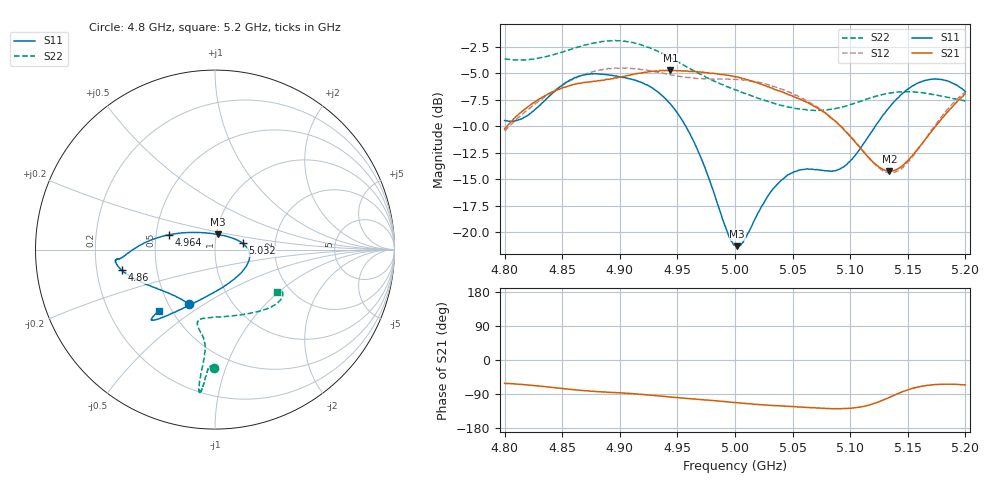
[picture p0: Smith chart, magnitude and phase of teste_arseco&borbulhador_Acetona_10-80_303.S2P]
! Network Analyzer HP8722D
! Hewlett-Packard
! Data name: Linha & Wilkinson
! Saver's name: Rodrigo Anjos
! Comments: Teste da utilização de aquisição
! continua pelo VNA HP8722D
! Time and date: 17/4/2025 16:53
!  Frequency  S11  S21  S12  S22
# HZ  S  MA R 50
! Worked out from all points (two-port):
!   401 points, 4.8 GHz to 5.2 GHz, reference 50 ohm
!   highest |S21| = -4.73 dB at 4.944 GHz (marker M1); lowest = -14.3 dB at 5.134 GHz (marker M2)
!   |S21| within 3 dB of the highest: 4.826 GHz to 5.062 GHz (236.1 MHz wide, 4.77 % of centre); 5.192467 GHz to end of sweep
!   lowest |S11| = -21.3 dB at 5.002 GHz (marker M3), VSWR 1.19, Z = 50.7 + j8.66 ohm
!   |S11| at or under -10 dB: 4.957 GHz to 5.122 GHz (164.5 MHz wide, 3.26 % of centre)
!   |S22| runs from -8.5 to -1.9 dB; largest |S21 - S12| = 0.87
!   S11 on the Smith chart (normalised r, x): 4.8 GHz: 0.63, -0.43; 4.86 GHz: 0.31, -0.10; 4.964 GHz: 0.58, +0.10; 5.032 GHz: 1.36, +0.10; 5.2 GHz: 0.43, -0.37
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4.8e9  0.3364 -116.0  0.3069 -61.6  0.3004 -175.8  0.6576 -90.7
4.818e9  0.3502 -135.2  0.3816 -65.3  0.3709 -175.2  0.6501 -92.3
4.86e9  0.5326 -167.6  0.4971 -78.3  0.5281 -178.4  0.7341 -94.6
4.867e9  0.5492 -170.3  0.5066 -80.6  0.5483 -179.8  0.7554 -94.9
4.898e9  0.5434 -174.4  0.536 -86.3  0.593 174.3  0.8004 -96.1
4.934e9  0.4547 179.8  0.5751 -95.0  0.5681 170.7  0.708 -96.5
4.944e9  0.4025 175.3  0.58 -97.6  0.5523 170.9  0.6655 -96.2
4.964e9  0.2694 162.1  0.5727 -102.9  0.5336 172.7  0.5781 -95.7
4.993e9  0.1013 114.0  0.5515 -110.4  0.5276 175.0  0.4864 -98.1
5e9  0.08679 88.4  0.5409 -112.3  0.527 175.1  0.4689 -99.5
5.002e9  0.08598 80.4  0.5408 -112.8  0.5247 175.0  0.4674 -99.9
5.008e9  0.09178 58.1  0.5293 -114.5  0.5215 174.9  0.4522 -101.3
5.032e9  0.1575 13.3  0.4792 -119.8  0.492 173.9  0.4088 -103.2
5.047e9  0.1873 -1.1  0.4444 -122.4  0.4579 173.1  0.389 -99.9
5.067e9  0.1982 -22.4  0.3981 -125.8  0.4032 172.9  0.3763 -89.3
5.096e9  0.2071 -72.5  0.2985 -128.0  0.301 174.8  0.3939 -66.9
5.121e9  0.3111 -110.3  0.2111 -114.7  0.2105 -169.9  0.4359 -49.8
5.134e9  0.388 -120.3  0.1936 -98.5  0.1904 -152.1  0.4529 -43.3
5.146e9  0.4543 -126.0  0.2073 -83.1  0.2024 -134.1  0.4599 -38.6
5.167e9  0.5219 -131.2  0.2814 -66.9  0.2842 -113.5  0.4512 -33.2
5.184e9  0.5173 -132.6  0.3676 -63.8  0.3772 -108.1  0.4338 -31.8
5.2e9  0.461 -132.6  0.4493 -65.9  0.4595 -108.0  0.4158 -34.4
